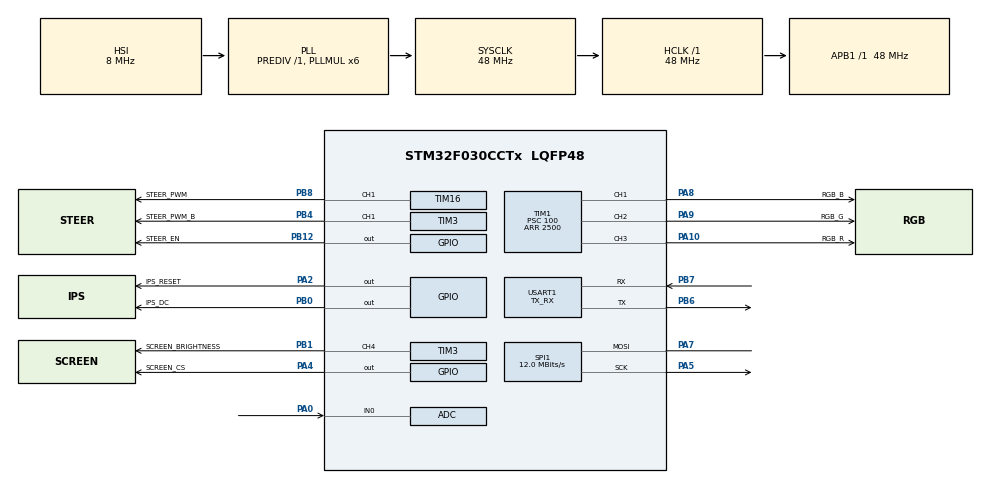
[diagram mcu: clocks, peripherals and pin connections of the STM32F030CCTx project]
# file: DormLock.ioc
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Mcu.Family=STM32F0
SPI1.VirtualType=VM_MASTER
Dma.USART1_TX.1.MemInc=DMA_MINC_ENABLE
PB0.GPIO_Label=IPS_DC
TIM3.Channel-PWM\ Generation4\ CH4=TIM_CHANNEL_4
RCC.SYSCLKSource=RCC_SYSCLKSOURCE_PLLCLK
ProjectManager.StackSize=0x1200
TIM1.Prescaler=100
NVIC.ADC1_IRQn=true\:0\:0\:false\:false\:true\:true\:true\:true
SPI1.Direction=SPI_DIRECTION_1LINE
NVIC.TIM17_IRQn=true\:0\:0\:false\:false\:true\:false\:false\:true
RCC.HCLKFreq_Value=48000000
PB6.Signal=USART1_TX
PB6.Mode=Asynchronous
SPI1.CalculateBaudRate=12.0 MBits/s
FREERTOS.configMINIMAL_STACK_SIZE=256
RCC.AHBFreq_Value=48000000
Dma.USART1_RX.0.Priority=DMA_PRIORITY_LOW
TIM3.Channel-PWM\ Generation1\ CH1=TIM_CHANNEL_1
FREERTOS.configUSE_TIMERS=1
PA4.GPIO_PuPd=GPIO_PULLDOWN
RCC.PLLMUL=RCC_PLL_MUL6
PB12.GPIO_Label=STEER_EN
TIM1.Channel-PWM\ Generation1\ CH1=TIM_CHANNEL_1
PA14.Mode=Serial_Wire
USART1.OverrunDisableParam=ADVFEATURE_OVERRUN_ENABLE
PB1.GPIO_Label=SCREEN_BRIGHTNESS
PA10.GPIO_Label=RGB_R
PA0.Mode=IN0
PB7.Signal=USART1_RX
PA8.Signal=S_TIM1_CH1
SH.S_TIM3_CH1.0=TIM3_CH1,PWM Generation1 CH1
VP_FREERTOS_VS_CMSIS_V1.Mode=CMSIS_V1
Dma.USART1_RX.0.MemInc=DMA_MINC_ENABLE
VP_TIM1_VS_ClockSourceINT.Mode=Internal
FREERTOS.configTOTAL_HEAP_SIZE=4096
Dma.USART1_TX.1.PeriphDataAlignment=DMA_PDATAALIGN_BYTE
PA0.Signal=ADC_IN0
Mcu.Package=LQFP48
PB1.Signal=S_TIM3_CH4
NVIC.TimeBase=TIM17_IRQn
PA2.GPIO_Label=IPS_RESET
NVIC.TimeBaseIP=TIM17
PA10.Signal=S_TIM1_CH3
USART1.DMADisableonRxErrorParam=ADVFEATURE_DMA_DISABLEONRXERROR
Dma.Request1=USART1_TX
RCC.APB1TimFreq_Value=48000000
Dma.USART1_RX.0.Mode=DMA_NORMAL
Dma.USART1_TX.1.Priority=DMA_PRIORITY_LOW
TIM1.Period=2500
TIM16.Prescaler=191
NVIC.USART1_IRQn=true\:1\:0\:true\:false\:true\:false\:true\:true
Dma.Request0=USART1_RX
SPI1.BaudRatePrescaler=SPI_BAUDRATEPRESCALER_4
PA4.GPIO_Label=SCREEN_CS
Dma.USART1_RX.0.Instance=DMA1_Channel3
PB4.Signal=S_TIM3_CH1
PA5.Mode=Simplex_Bidirectional_Master
Dma.USART1_TX.1.Direction=DMA_MEMORY_TO_PERIPH
Dma.USART1_TX.1.Instance=DMA1_Channel2
FREERTOS.Tasks01=defaultTask,0,256,StartDefaultTask,Default,NULL,Dynamic,NULL,NULL
PA7.Mode=Simplex_Bidirectional_Master
Dma.USART1_RX.0.PeriphDataAlignment=DMA_PDATAALIGN_BYTE
VP_SYS_VS_tim17.Mode=TIM17
PA9.GPIO_Label=RGB_G
FREERTOS.INCLUDE_vTaskDelayUntil=1
SH.S_TIM16_CH1.0=TIM16_CH1,PWM Generation1 CH1
VP_TIM16_VS_ClockSourceINT.Mode=Enable_Timer
TIM16.Channel=TIM_CHANNEL_1
USART1.VirtualMode-Asynchronous=VM_ASYNC
PA13.Signal=SYS_SWDIO
PB8.GPIO_Label=STEER_PWM
PA8.GPIO_Label=RGB_B
SH.S_TIM1_CH1.0=TIM1_CH1,PWM Generation1 CH1
ProjectManager.TargetToolchain=STM32CubeIDE
Dma.USART1_RX.0.Direction=DMA_PERIPH_TO_MEMORY
PA9.Signal=S_TIM1_CH2
TIM1.Channel-PWM\ Generation2\ CH2=TIM_CHANNEL_2
Dma.USART1_RX.0.PeriphInc=DMA_PINC_DISABLE
PA5.Signal=SPI1_SCK
FREERTOS.MEMORY_ALLOCATION=2
Dma.USART1_TX.1.MemDataAlignment=DMA_MDATAALIGN_BYTE
board=custom
TIM16.Period=1000
PB4.GPIO_Label=STEER_PWM_B
USART1.Mode=MODE_TX_RX
SH.S_TIM1_CH2.0=TIM1_CH2,PWM Generation2 CH2
SPI1.Mode=SPI_MODE_MASTER
Dma.USART1_RX.0.MemDataAlignment=DMA_MDATAALIGN_BYTE
PA13.Mode=Serial_Wire
Mcu.Name=STM32F030CCTx
PA2.Signal=GPIO_Output
PA4.Signal=GPIO_Output
RCC.SYSCLKFreq_VALUE=48000000
Dma.USART1_TX.1.Mode=DMA_NORMAL
PB7.Mode=Asynchronous
PA14.Signal=SYS_SWCLK
ProjectManager.HeapSize=0x1000
Dma.USART1_TX.1.PeriphInc=DMA_PINC_DISABLE
SH.S_TIM1_CH3.0=TIM1_CH3,PWM Generation3 CH3
NVIC.DMA1_Channel2_3_IRQn=true\:0\:0\:false\:false\:true\:true\:false\:true
PB8.Signal=S_TIM16_CH1
TIM1.Channel-PWM\ Generation3\ CH3=TIM_CHANNEL_3
RCC.APB1Freq_Value=48000000
PB0.Signal=GPIO_Output
PB12.Signal=GPIO_Output
SH.S_TIM3_CH4.0=TIM3_CH4,PWM Generation4 CH4
PA7.Signal=SPI1_MOSI

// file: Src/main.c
/* USER CODE BEGIN Header */
/**
  ******************************************************************************
  * @file           : main.c
  * @brief          : Main program body
  ******************************************************************************
  * @attention
  *
  * <h2><center>&copy; Copyright (c) 2020 STMicroelectronics.
  * All rights reserved.</center></h2>
  *
  * This software component is licensed by ST under Ultimate Liberty license
  * SLA0044, the "License"; You may not use this file except in compliance with
  * the License. You may obtain a copy of the License at:
  *                             www.st.com/SLA0044
  *
  ******************************************************************************
  */
/* USER CODE END Header */
#include "main.h"
#include "cmsis_os.h"
#include "adc.h"
#include "dma.h"
#include "spi.h"
#include "tim.h"
#include "usart.h"
#include "gpio.h"

/* USER CODE BEGIN PV */
int _debug = 0;
/* USER CODE END PV */

void SystemClock_Config(void);
void MX_FREERTOS_Init(void);

int main(void)
{

  /* MCU Configuration--------------------------------------------------------*/

  /* Reset of all peripherals, Initializes the Flash interface and the Systick. */
  HAL_Init();

  /* Configure the system clock */
  SystemClock_Config();

  /* Initialize all configured peripherals */
  MX_GPIO_Init();
  MX_DMA_Init();
  MX_SPI1_Init();
  MX_TIM16_Init();
  MX_USART1_UART_Init();
  MX_TIM3_Init();
  MX_ADC_Init();
  MX_TIM1_Init();

  /* Call init function for freertos objects (in freertos.c) */
  MX_FREERTOS_Init();
  /* Start scheduler */
  osKernelStart();

  /* We should never get here as control is now taken by the scheduler */
  /* Infinite loop */
  /* USER CODE BEGIN WHILE */
#pragma clang diagnostic push
#pragma ide diagnostic ignored "EndlessLoop"
  //bsp_unlock_init();
    HAL_TIM_PWM_Start(&htim16,TIM_CHANNEL_1);
    HAL_GPIO_WritePin(STEER_EN_GPIO_Port,STEER_EN_Pin,GPIO_PIN_SET);
    //HAL_GPIO_WritePin(STEER_EN_GPIO_Port,STEER_EN_Pin,GPIO_PIN_RESET);
    __HAL_TIM_SET_COMPARE(&htim16, TIM_CHANNEL_1, 500);
    //bsp_modemcu_Init();
  while (1)
  {
      //__HAL_TIM_SET_COMPARE(&htim16, TIM_CHANNEL_1, _debug);
    /* USER CODE END WHILE */

    /* USER CODE BEGIN 3 */
  }
#pragma clang diagnostic pop
  /* USER CODE END 3 */
}

void SystemClock_Config(void)
{
  RCC_OscInitTypeDef RCC_OscInitStruct = {0};
  RCC_ClkInitTypeDef RCC_ClkInitStruct = {0};
  RCC_PeriphCLKInitTypeDef PeriphClkInit = {0};

  /** Initializes the RCC Oscillators according to the specified parameters
  * in the RCC_OscInitTypeDef structure.
  */
  RCC_OscInitStruct.OscillatorType = RCC_OSCILLATORTYPE_HSI|RCC_OSCILLATORTYPE_HSI14;
  RCC_OscInitStruct.HSIState = RCC_HSI_ON;
  RCC_OscInitStruct.HSI14State = RCC_HSI14_ON;
  RCC_OscInitStruct.HSICalibrationValue = RCC_HSICALIBRATION_DEFAULT;
  RCC_OscInitStruct.HSI14CalibrationValue = 16;
  RCC_OscInitStruct.PLL.PLLState = RCC_PLL_ON;
  RCC_OscInitStruct.PLL.PLLSource = RCC_PLLSOURCE_HSI;
  RCC_OscInitStruct.PLL.PLLMUL = RCC_PLL_MUL6;
  RCC_OscInitStruct.PLL.PREDIV = RCC_PREDIV_DIV1;
  if (HAL_RCC_OscConfig(&RCC_OscInitStruct) != HAL_OK)
  {
    Error_Handler();
  }
  /** Initializes the CPU, AHB and APB buses clocks
  */
  RCC_ClkInitStruct.ClockType = RCC_CLOCKTYPE_HCLK|RCC_CLOCKTYPE_SYSCLK
                              |RCC_CLOCKTYPE_PCLK1;
  RCC_ClkInitStruct.SYSCLKSource = RCC_SYSCLKSOURCE_PLLCLK;
  RCC_ClkInitStruct.AHBCLKDivider = RCC_SYSCLK_DIV1;
  RCC_ClkInitStruct.APB1CLKDivider = RCC_HCLK_DIV1;

  if (HAL_RCC_ClockConfig(&RCC_ClkInitStruct, FLASH_LATENCY_1) != HAL_OK)
  {
    Error_Handler();
  }
  PeriphClkInit.PeriphClockSelection = RCC_PERIPHCLK_USART1;
  PeriphClkInit.Usart1ClockSelection = RCC_USART1CLKSOURCE_PCLK1;
  if (HAL_RCCEx_PeriphCLKConfig(&PeriphClkInit) != HAL_OK)
  {
    Error_Handler();
  }
}

void HAL_TIM_PeriodElapsedCallback(TIM_HandleTypeDef *htim)
{
  if (htim->Instance == TIM17) {
    HAL_IncTick();
  }
}

void Error_Handler(void)
{
}

/************************ (C) COPYRIGHT STMicroelectronics *****END OF FILE****/

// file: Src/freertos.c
/* USER CODE BEGIN Header */
/**
  ******************************************************************************
  * File Name          : freertos.c
  * Description        : Code for freertos applications
  ******************************************************************************
  * @attention
  *
  * <h2><center>&copy; Copyright (c) 2020 STMicroelectronics.
  * All rights reserved.</center></h2>
  *
  * This software component is licensed by ST under Ultimate Liberty license
  * SLA0044, the "License"; You may not use this file except in compliance with
  * the License. You may obtain a copy of the License at:
  *                             www.st.com/SLA0044
  *
  ******************************************************************************
  */
/* USER CODE END Header */

#include "FreeRTOS.h"
#include "task.h"
#include "main.h"
#include "cmsis_os.h"

/* USER CODE BEGIN Includes */
#include "bsp_nodemcuuart.h"
#include "task_main.h"
#include "bsp_unlock.h"
#include "bsp_rgb.h"
/* USER CODE END Includes */

osThreadId defaultTaskHandle;

void StartDefaultTask(void const * argument);

void MX_FREERTOS_Init(void); /* (MISRA C 2004 rule 8.1) */

/* GetIdleTaskMemory prototype (linked to static allocation support) */
void vApplicationGetIdleTaskMemory( StaticTask_t **ppxIdleTaskTCBBuffer, StackType_t **ppxIdleTaskStackBuffer, uint32_t *pulIdleTaskStackSize );

/* GetTimerTaskMemory prototype (linked to static allocation support) */
void vApplicationGetTimerTaskMemory( StaticTask_t **ppxTimerTaskTCBBuffer, StackType_t **ppxTimerTaskStackBuffer, uint32_t *pulTimerTaskStackSize );

/* USER CODE BEGIN GET_IDLE_TASK_MEMORY */
static StaticTask_t xIdleTaskTCBBuffer;
static StackType_t xIdleStack[configMINIMAL_STACK_SIZE];

void vApplicationGetIdleTaskMemory( StaticTask_t **ppxIdleTaskTCBBuffer, StackType_t **ppxIdleTaskStackBuffer, uint32_t *pulIdleTaskStackSize )
{
  *ppxIdleTaskTCBBuffer = &xIdleTaskTCBBuffer;
  *ppxIdleTaskStackBuffer = &xIdleStack[0];
  *pulIdleTaskStackSize = configMINIMAL_STACK_SIZE;
  /* place for user code */
}
/* USER CODE END GET_IDLE_TASK_MEMORY */

/* USER CODE BEGIN GET_TIMER_TASK_MEMORY */
static StaticTask_t xTimerTaskTCBBuffer;
static StackType_t xTimerStack[configTIMER_TASK_STACK_DEPTH];

void vApplicationGetTimerTaskMemory( StaticTask_t **ppxTimerTaskTCBBuffer, StackType_t **ppxTimerTaskStackBuffer, uint32_t *pulTimerTaskStackSize )
{
  *ppxTimerTaskTCBBuffer = &xTimerTaskTCBBuffer;
  *ppxTimerTaskStackBuffer = &xTimerStack[0];
  *pulTimerTaskStackSize = configTIMER_TASK_STACK_DEPTH;
  /* place for user code */
}
/* USER CODE END GET_TIMER_TASK_MEMORY */

void MX_FREERTOS_Init(void) {

  /* Create the thread(s) */
  /* definition and creation of defaultTask */
  osThreadDef(defaultTask, StartDefaultTask, osPriorityNormal, 0, 256);
  defaultTaskHandle = osThreadCreate(osThread(defaultTask), NULL);

}

void StartDefaultTask(void const * argument)
{
  /* USER CODE BEGIN StartDefaultTask */

    taskENTER_CRITICAL();

    xTaskCreate((TaskFunction_t) Main_Task,
                (const char *) "Main_Task",
                (uint16_t) 512,
                (void *) NULL,
                (UBaseType_t) osPriorityAboveNormal,
                (TaskHandle_t *) &Main_Task_Handle);

    bsp_modemcu_Init();
    bsp_unlock_init();

    vTaskDelete(NULL);

    taskEXIT_CRITICAL();

    /* Infinite loop */
#pragma clang diagnostic push
#pragma ide diagnostic ignored "EndlessLoop"
  while (1)
  {
    osDelay(1);
  }
#pragma clang diagnostic pop
  /* USER CODE END StartDefaultTask */
}

/************************ (C) COPYRIGHT STMicroelectronics *****END OF FILE****/
